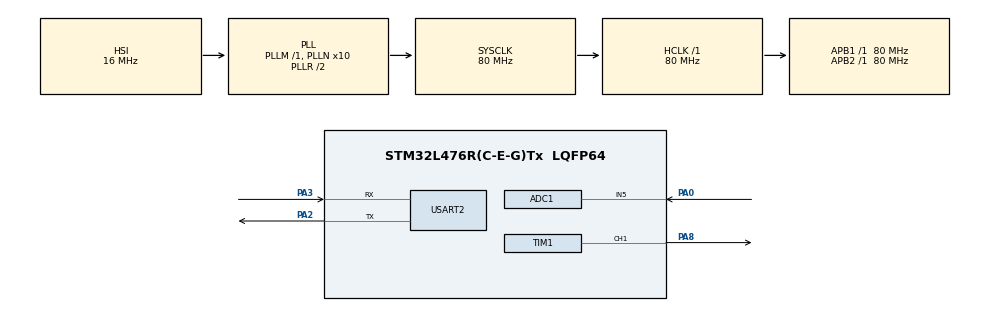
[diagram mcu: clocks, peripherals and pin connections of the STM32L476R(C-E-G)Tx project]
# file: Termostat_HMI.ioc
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ADC1.Channel-0\#ChannelRegularConversion=ADC_CHANNEL_5
ADC1.NbrOfConversionFlag=1
ADC1.OffsetNumber-0\#ChannelRegularConversion=ADC_OFFSET_NONE
ADC1.Rank-0\#ChannelRegularConversion=1
ADC1.SamplingTime-0\#ChannelRegularConversion=ADC_SAMPLETIME_2CYCLES_5
ADC1.master=1
Dma.Request0=TIM1_CH1
Dma.TIM1_CH1.0.Direction=DMA_MEMORY_TO_PERIPH
Dma.TIM1_CH1.0.Instance=DMA1_Channel2
Dma.TIM1_CH1.0.MemDataAlignment=DMA_MDATAALIGN_HALFWORD
Dma.TIM1_CH1.0.MemInc=DMA_MINC_ENABLE
Dma.TIM1_CH1.0.Mode=DMA_NORMAL
Dma.TIM1_CH1.0.PeriphDataAlignment=DMA_PDATAALIGN_HALFWORD
Dma.TIM1_CH1.0.PeriphInc=DMA_PINC_DISABLE
Dma.TIM1_CH1.0.Priority=DMA_PRIORITY_VERY_HIGH
Mcu.Family=STM32L4
Mcu.Name=STM32L476R(C-E-G)Tx
Mcu.Package=LQFP64
NVIC.DMA1_Channel2_IRQn=true\:0\:0\:false\:false\:true\:false\:true\:true
NVIC.PriorityGroup=NVIC_PRIORITYGROUP_4
PA0.Signal=ADCx_IN5
PA2.Mode=Asynchronous
PA2.Signal=USART2_TX
PA3.Mode=Asynchronous
PA3.Signal=USART2_RX
PA8.Signal=S_TIM1_CH1
ProjectManager.HeapSize=0x200
ProjectManager.StackSize=0x400
ProjectManager.TargetToolchain=STM32CubeIDE
RCC.ADCFreq_Value=80000000
RCC.AHBFreq_Value=80000000
RCC.APB1Freq_Value=80000000
RCC.APB1TimFreq_Value=80000000
RCC.APB2Freq_Value=80000000
RCC.APB2TimFreq_Value=80000000
RCC.CortexFreq_Value=80000000
RCC.HCLKFreq_Value=80000000
RCC.HSE_VALUE=8000000
RCC.HSI_VALUE=16000000
RCC.LSE_VALUE=32768
RCC.MSI_VALUE=4000000
RCC.PLLN=10
RCC.PLLSAI1N=10
RCC.PLLSourceVirtual=RCC_PLLSOURCE_HSI
RCC.SYSCLKFreq_VALUE=80000000
RCC.SYSCLKSource=RCC_SYSCLKSOURCE_PLLCLK
RCC.USBFreq_Value=80000000
RCC.VCOOutputFreq_Value=160000000
SH.ADCx_IN5.0=ADC1_IN5,IN5-Single-Ended
SH.S_TIM1_CH1.0=TIM1_CH1,PWM Generation1 CH1
TIM1.Channel-PWM\ Generation1\ CH1=TIM_CHANNEL_1
TIM1.Period=99
USART2.VirtualMode-Asynchronous=VM_ASYNC
board=custom

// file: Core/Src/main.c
/* USER CODE BEGIN Header */
/**
  ******************************************************************************
  * @file           : main.c
  * @brief          : Main program body
  ******************************************************************************
  * @attention
  *
  * Copyright (c) 2026 STMicroelectronics.
  * All rights reserved.
  *
  * This software is licensed under terms that can be found in the LICENSE file
  * in the root directory of this software component.
  * If no LICENSE file comes with this software, it is provided AS-IS.
  *
  ******************************************************************************
  */
/* USER CODE END Header */
#include "main.h"

ADC_HandleTypeDef hadc1;

TIM_HandleTypeDef htim1;
DMA_HandleTypeDef hdma_tim1_ch1;

UART_HandleTypeDef huart2;

/* USER CODE BEGIN PV */
uint16_t adc_value;			// odczyt z przetwornika ADC (0-4095)
float napiecie;				// Przeliczone napięcie na mV
float temperatura;			// Wtemperatura w Celsjuszach
uint16_t pwm_data[218];		// (7 diod * 24 bity) + 50 bitów sygnału RESET (cisza)
/* USER CODE END PV */

void SystemClock_Config(void);
static void MX_GPIO_Init(void);
static void MX_DMA_Init(void);
static void MX_ADC1_Init(void);
static void MX_USART2_UART_Init(void);
static void MX_TIM1_Init(void);
/* USER CODE BEGIN PFP */
void Set_Led(uint8_t led_index, uint8_t r, uint8_t g, uint8_t b);
/* USER CODE END PFP */

/* USER CODE BEGIN 0 */
void Set_Led(uint8_t led_index, uint8_t r, uint8_t g, uint8_t b){
	int start = led_index * 24;
	uint32_t grb_color = (g << 16) | (r << 8) | b;
	for(int i = 0; i<24; i++){
		if(grb_color & (1 << (23 - i)))
		{
			pwm_data[start + i] = 66;	//  "1" 66% wypełnienia
		}
		else
		{
			pwm_data[start + i] = 33;	//  "0" (~33% wypełnienia
		}
	}
}
/* USER CODE END 0 */

int main(void)
{

  /* MCU Configuration--------------------------------------------------------*/

  /* Reset of all peripherals, Initializes the Flash interface and the Systick. */
  HAL_Init();

  /* Configure the system clock */
  SystemClock_Config();

  /* Initialize all configured peripherals */
  MX_GPIO_Init();
  MX_DMA_Init();
  MX_ADC1_Init();
  MX_USART2_UART_Init();
  MX_TIM1_Init();
  /* USER CODE BEGIN 2 */
__HAL_TIM_MOE_ENABLE(&htim1);

for(int i = 0; i < 218; i++) {
    pwm_data[i] = 0;
}

// PROWIZORYCZNY PANEL HMI
printf("\033[2J\033[3J\033[H");
printf("\033[?25l");
printf("=============================\r\n");
printf("   PANEL OPERATORSKI ARiSS   \r\n");
printf("=============================\r\n");
printf(" Temperatura:                \r\n");
printf("=============================\r\n");

  /* USER CODE END 2 */

  /* Infinite loop */
  /* USER CODE BEGIN WHILE */
  while (1)
  {
	  HAL_ADC_Start(&hadc1);
	  if (HAL_ADC_PollForConversion(&hadc1, 50) == HAL_OK){

	adc_value = HAL_ADC_GetValue(&hadc1);

	napiecie = (adc_value * 3300.0)/4095.0;
	temperatura = napiecie / 10.0;

	if (temperatura >= 26.0){

	Set_Led(0, 255, 0, 0);
}
	else{

	Set_Led(0, 0, 0, 255);
}

for(int i = 1; i < 7; i++){

	Set_Led(i, 0, 0, 0);

}
// Przesył danych do diod przez DMA (Direct Memory Access)
HAL_TIM_PWM_Start_DMA(&htim1, TIM_CHANNEL_1, (uint32_t *)pwm_data, 218);

	printf("\033[4;15H%.1f C     \n", temperatura);
	printf("\033[H");
		}
	HAL_ADC_Stop(&hadc1);
	  HAL_Delay(500);
    /* USER CODE END WHILE */

  }
}

void SystemClock_Config(void)
{
  RCC_OscInitTypeDef RCC_OscInitStruct = {0};
  RCC_ClkInitTypeDef RCC_ClkInitStruct = {0};

  /** Configure the main internal regulator output voltage
  */
  if (HAL_PWREx_ControlVoltageScaling(PWR_REGULATOR_VOLTAGE_SCALE1) != HAL_OK)
  {
    Error_Handler();
  }

  /** Initializes the RCC Oscillators according to the specified parameters
  * in the RCC_OscInitTypeDef structure.
  */
  RCC_OscInitStruct.OscillatorType = RCC_OSCILLATORTYPE_HSI;
  RCC_OscInitStruct.HSIState = RCC_HSI_ON;
  RCC_OscInitStruct.HSICalibrationValue = RCC_HSICALIBRATION_DEFAULT;
  RCC_OscInitStruct.PLL.PLLState = RCC_PLL_ON;
  RCC_OscInitStruct.PLL.PLLSource = RCC_PLLSOURCE_HSI;
  RCC_OscInitStruct.PLL.PLLM = 1;
  RCC_OscInitStruct.PLL.PLLN = 10;
  RCC_OscInitStruct.PLL.PLLP = RCC_PLLP_DIV7;
  RCC_OscInitStruct.PLL.PLLQ = RCC_PLLQ_DIV2;
  RCC_OscInitStruct.PLL.PLLR = RCC_PLLR_DIV2;
  if (HAL_RCC_OscConfig(&RCC_OscInitStruct) != HAL_OK)
  {
    Error_Handler();
  }

  /** Initializes the CPU, AHB and APB buses clocks
  */
  RCC_ClkInitStruct.ClockType = RCC_CLOCKTYPE_HCLK|RCC_CLOCKTYPE_SYSCLK
                              |RCC_CLOCKTYPE_PCLK1|RCC_CLOCKTYPE_PCLK2;
  RCC_ClkInitStruct.SYSCLKSource = RCC_SYSCLKSOURCE_PLLCLK;
  RCC_ClkInitStruct.AHBCLKDivider = RCC_SYSCLK_DIV1;
  RCC_ClkInitStruct.APB1CLKDivider = RCC_HCLK_DIV1;
  RCC_ClkInitStruct.APB2CLKDivider = RCC_HCLK_DIV1;

  if (HAL_RCC_ClockConfig(&RCC_ClkInitStruct, FLASH_LATENCY_4) != HAL_OK)
  {
    Error_Handler();
  }
}

static void MX_ADC1_Init(void)
{

  ADC_MultiModeTypeDef multimode = {0};
  ADC_ChannelConfTypeDef sConfig = {0};

  /** Common config
  */
  hadc1.Instance = ADC1;
  hadc1.Init.ClockPrescaler = ADC_CLOCK_ASYNC_DIV1;
  hadc1.Init.Resolution = ADC_RESOLUTION_12B;
  hadc1.Init.DataAlign = ADC_DATAALIGN_RIGHT;
  hadc1.Init.ScanConvMode = ADC_SCAN_DISABLE;
  hadc1.Init.EOCSelection = ADC_EOC_SINGLE_CONV;
  hadc1.Init.LowPowerAutoWait = DISABLE;
  hadc1.Init.ContinuousConvMode = DISABLE;
  hadc1.Init.NbrOfConversion = 1;
  hadc1.Init.DiscontinuousConvMode = DISABLE;
  hadc1.Init.ExternalTrigConv = ADC_SOFTWARE_START;
  hadc1.Init.ExternalTrigConvEdge = ADC_EXTERNALTRIGCONVEDGE_NONE;
  hadc1.Init.DMAContinuousRequests = DISABLE;
  hadc1.Init.Overrun = ADC_OVR_DATA_PRESERVED;
  hadc1.Init.OversamplingMode = DISABLE;
  if (HAL_ADC_Init(&hadc1) != HAL_OK)
  {
    Error_Handler();
  }

  /** Configure the ADC multi-mode
  */
  multimode.Mode = ADC_MODE_INDEPENDENT;
  if (HAL_ADCEx_MultiModeConfigChannel(&hadc1, &multimode) != HAL_OK)
  {
    Error_Handler();
  }

  /** Configure Regular Channel
  */
  sConfig.Channel = ADC_CHANNEL_5;
  sConfig.Rank = ADC_REGULAR_RANK_1;
  sConfig.SamplingTime = ADC_SAMPLETIME_2CYCLES_5;
  sConfig.SingleDiff = ADC_SINGLE_ENDED;
  sConfig.OffsetNumber = ADC_OFFSET_NONE;
  sConfig.Offset = 0;
  if (HAL_ADC_ConfigChannel(&hadc1, &sConfig) != HAL_OK)
  {
    Error_Handler();
  }

}

static void MX_TIM1_Init(void)
{

  TIM_MasterConfigTypeDef sMasterConfig = {0};
  TIM_OC_InitTypeDef sConfigOC = {0};
  TIM_BreakDeadTimeConfigTypeDef sBreakDeadTimeConfig = {0};

  htim1.Instance = TIM1;
  htim1.Init.Prescaler = 0;
  htim1.Init.CounterMode = TIM_COUNTERMODE_UP;
  htim1.Init.Period = 99;
  htim1.Init.ClockDivision = TIM_CLOCKDIVISION_DIV1;
  htim1.Init.RepetitionCounter = 0;
  htim1.Init.AutoReloadPreload = TIM_AUTORELOAD_PRELOAD_DISABLE;
  if (HAL_TIM_PWM_Init(&htim1) != HAL_OK)
  {
    Error_Handler();
  }
  sMasterConfig.MasterOutputTrigger = TIM_TRGO_RESET;
  sMasterConfig.MasterOutputTrigger2 = TIM_TRGO2_RESET;
  sMasterConfig.MasterSlaveMode = TIM_MASTERSLAVEMODE_DISABLE;
  if (HAL_TIMEx_MasterConfigSynchronization(&htim1, &sMasterConfig) != HAL_OK)
  {
    Error_Handler();
  }
  sConfigOC.OCMode = TIM_OCMODE_PWM1;
  sConfigOC.Pulse = 0;
  sConfigOC.OCPolarity = TIM_OCPOLARITY_HIGH;
  sConfigOC.OCNPolarity = TIM_OCNPOLARITY_HIGH;
  sConfigOC.OCFastMode = TIM_OCFAST_DISABLE;
  sConfigOC.OCIdleState = TIM_OCIDLESTATE_RESET;
  sConfigOC.OCNIdleState = TIM_OCNIDLESTATE_RESET;
  if (HAL_TIM_PWM_ConfigChannel(&htim1, &sConfigOC, TIM_CHANNEL_1) != HAL_OK)
  {
    Error_Handler();
  }
  sBreakDeadTimeConfig.OffStateRunMode = TIM_OSSR_DISABLE;
  sBreakDeadTimeConfig.OffStateIDLEMode = TIM_OSSI_DISABLE;
  sBreakDeadTimeConfig.LockLevel = TIM_LOCKLEVEL_OFF;
  sBreakDeadTimeConfig.DeadTime = 0;
  sBreakDeadTimeConfig.BreakState = TIM_BREAK_DISABLE;
  sBreakDeadTimeConfig.BreakPolarity = TIM_BREAKPOLARITY_HIGH;
  sBreakDeadTimeConfig.BreakFilter = 0;
  sBreakDeadTimeConfig.Break2State = TIM_BREAK2_DISABLE;
  sBreakDeadTimeConfig.Break2Polarity = TIM_BREAK2POLARITY_HIGH;
  sBreakDeadTimeConfig.Break2Filter = 0;
  sBreakDeadTimeConfig.AutomaticOutput = TIM_AUTOMATICOUTPUT_DISABLE;
  if (HAL_TIMEx_ConfigBreakDeadTime(&htim1, &sBreakDeadTimeConfig) != HAL_OK)
  {
    Error_Handler();
  }
  HAL_TIM_MspPostInit(&htim1);

}

static void MX_USART2_UART_Init(void)
{

  huart2.Instance = USART2;
  huart2.Init.BaudRate = 115200;
  huart2.Init.WordLength = UART_WORDLENGTH_8B;
  huart2.Init.StopBits = UART_STOPBITS_1;
  huart2.Init.Parity = UART_PARITY_NONE;
  huart2.Init.Mode = UART_MODE_TX_RX;
  huart2.Init.HwFlowCtl = UART_HWCONTROL_NONE;
  huart2.Init.OverSampling = UART_OVERSAMPLING_16;
  huart2.Init.OneBitSampling = UART_ONE_BIT_SAMPLE_DISABLE;
  huart2.AdvancedInit.AdvFeatureInit = UART_ADVFEATURE_NO_INIT;
  if (HAL_UART_Init(&huart2) != HAL_OK)
  {
    Error_Handler();
  }

}

static void MX_DMA_Init(void)
{

  /* DMA controller clock enable */
  __HAL_RCC_DMA1_CLK_ENABLE();

  /* DMA interrupt init */
  /* DMA1_Channel2_IRQn interrupt configuration */
  HAL_NVIC_SetPriority(DMA1_Channel2_IRQn, 0, 0);
  HAL_NVIC_EnableIRQ(DMA1_Channel2_IRQn);

}

static void MX_GPIO_Init(void)
{

  /* GPIO Ports Clock Enable */
  __HAL_RCC_GPIOA_CLK_ENABLE();

}

/* USER CODE BEGIN 4 */
int __io_putchar(int ch) {
    HAL_UART_Transmit(&huart2, (uint8_t*) &ch, 1, 10);
    return ch;
}
int _write(int file, char *ptr, int len) {
    for (int i = 0; i < len; i++) __io_putchar(*ptr++);
    return len;
}
/* USER CODE END 4 */

void Error_Handler(void)
{
  __disable_irq();
  while (1)
  {
  }
}
